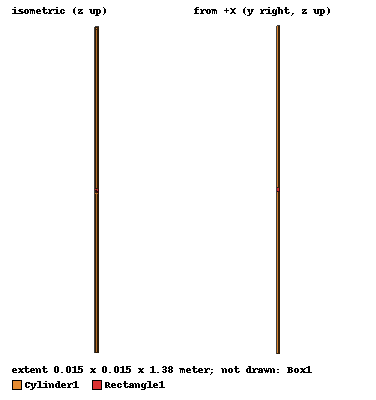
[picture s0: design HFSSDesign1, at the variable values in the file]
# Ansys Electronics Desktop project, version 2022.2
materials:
  vacuum: permittivity=1
  copper: permeability=0.999991 conductivity=58000000
  air: permittivity=1.0006 permeability=1.0000004

design HFSSDesign1 (HFSS, DrivenModal, model units meter)
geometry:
  Cylinder1 [copper] = cylinder(axis=Z, base_centre=(0meter, 0meter, (1.38/2) meter), radius=0.0075meter, height=-1.38meter)
  Cylinder2 = cylinder(axis=Z, base_centre=(0meter, 0meter, (0.02/2) meter), radius=0.0075meter, height=-0.02meter)
  Cylinder1.subtract(Cylinder2)
  Rectangle1 = rectangle(corner=(0meter, -0.0075meter, 0.01meter), y_size=0.015meter, z_size=-0.02meter)
  Box1 [air] = box(corner=(-2meter, -2meter, -2meter), size=(4meter, 4meter, 4meter))
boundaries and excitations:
  Rad1: Radiation Objects=Box1
  1: Lumped Port Objects=Rectangle1 Modes{Mode1{IntLine{(0, 0, -0.01) -> (0, 0, 0.01)} CharImp=Zpi RenormImp=50ohm}} Impedance=50ohm
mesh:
  initial mesh: GlobalSurfApproximation{CurvedSurfaceApproxChoice=UseSlider SliderMeshSettings=1}
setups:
  Setup1: HfssDriven Frequency=100MHz MaxDeltaS=0.02 MaximumPasses=20 MinimumPasses=1 MinimumConvergedPasses=1 PercentRefinement=30 BasisOrder=1 PortAccuracy=2 DrivenSolverType="Direct Solver"
    sweep Sweep: 50MHz to 150MHz, 401 points; Type=Fast SaveFields
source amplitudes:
  1:1: 1W 0deg
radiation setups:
  Infinite Sphere1: Infinite Sphere Theta=0deg..180deg step 2deg Phi=-180deg..180deg step 2deg
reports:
  S Parameter Plot 1: dB(S(1,1)) vs Freq on Setup1 : Sweep
  Gain Plot 1: dB(GainTotal) vs Phi, Theta on Setup1 : LastAdaptive, Infinite Sphere1 [Freq=0.1GHz]
